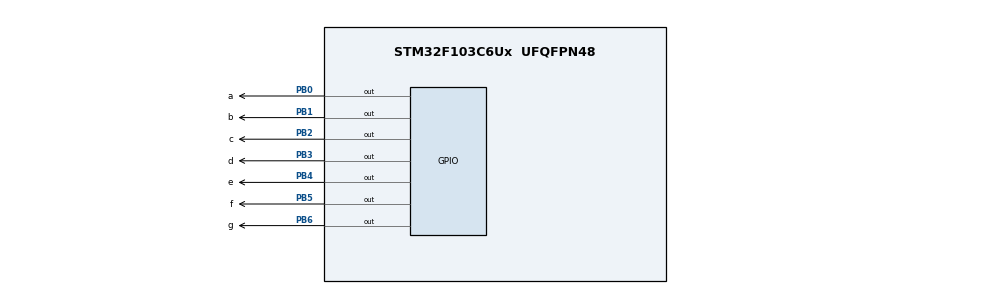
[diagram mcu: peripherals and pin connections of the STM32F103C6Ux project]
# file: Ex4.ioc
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Mcu.Family=STM32F1
Mcu.Name=STM32F103C6Ux
Mcu.Package=UFQFPN48
NVIC.PriorityGroup=NVIC_PRIORITYGROUP_4
PA13.Mode=Serial_Wire
PA13.Signal=SYS_JTMS-SWDIO
PA14.Mode=Serial_Wire
PA14.Signal=SYS_JTCK-SWCLK
PB0.GPIO_Label=a
PB0.PinState=GPIO_PIN_SET
PB0.Signal=GPIO_Output
PB1.GPIO_Label=b
PB1.PinState=GPIO_PIN_SET
PB1.Signal=GPIO_Output
PB2.GPIO_Label=c
PB2.PinState=GPIO_PIN_SET
PB2.Signal=GPIO_Output
PB3.GPIO_Label=d
PB3.PinState=GPIO_PIN_SET
PB3.Signal=GPIO_Output
PB4.GPIO_Label=e
PB4.PinState=GPIO_PIN_SET
PB4.Signal=GPIO_Output
PB5.GPIO_Label=f
PB5.PinState=GPIO_PIN_SET
PB5.Signal=GPIO_Output
PB6.GPIO_Label=g
PB6.PinState=GPIO_PIN_SET
PB6.Signal=GPIO_Output
ProjectManager.HeapSize=0x200
ProjectManager.StackSize=0x400
ProjectManager.TargetToolchain=STM32CubeIDE
RCC.APB1Freq_Value=8000000
RCC.APB2Freq_Value=8000000
board=custom

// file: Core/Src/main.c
/* USER CODE BEGIN Header */
/**
  ******************************************************************************
  * @file           : main.c
  * @brief          : Main program body
  ******************************************************************************
  * @attention
  *
  * Copyright (c) 2026 STMicroelectronics.
  * All rights reserved.
  *
  * This software is licensed under terms that can be found in the LICENSE file
  * in the root directory of this software component.
  * If no LICENSE file comes with this software, it is provided AS-IS.
  *
  ******************************************************************************
  */
/* USER CODE END Header */
#include "main.h"

/* USER CODE BEGIN PV */
int counter = 0;
/* USER CODE END PV */

void SystemClock_Config(void);
static void MX_GPIO_Init(void);

/* USER CODE BEGIN 0 */
void display7SEG(int num)
{

  uint8_t seg_code[10] = {
    0x40, // 0: 100 0000
    0x79, // 1: 111 1001
    0x24, // 2: 010 0100
    0x30, // 3: 011 0000
    0x19, // 4: 001 1001
    0x12, // 5: 001 0010
    0x02, // 6: 000 0010
    0x78, // 7: 111 1000
    0x00, // 8: 000 0000
    0x10
  };

  if (num >= 0 && num <= 9)
  {
    uint8_t code = seg_code[num];

    HAL_GPIO_WritePin(GPIOB, GPIO_PIN_0, (code & 0x01) ? GPIO_PIN_SET : GPIO_PIN_RESET); // a
    HAL_GPIO_WritePin(GPIOB, GPIO_PIN_1, (code & 0x02) ? GPIO_PIN_SET : GPIO_PIN_RESET); // b
    HAL_GPIO_WritePin(GPIOB, GPIO_PIN_2, (code & 0x04) ? GPIO_PIN_SET : GPIO_PIN_RESET); // c
    HAL_GPIO_WritePin(GPIOB, GPIO_PIN_3, (code & 0x08) ? GPIO_PIN_SET : GPIO_PIN_RESET); // d
    HAL_GPIO_WritePin(GPIOB, GPIO_PIN_4, (code & 0x10) ? GPIO_PIN_SET : GPIO_PIN_RESET); // e
    HAL_GPIO_WritePin(GPIOB, GPIO_PIN_5, (code & 0x20) ? GPIO_PIN_SET : GPIO_PIN_RESET); // f
    HAL_GPIO_WritePin(GPIOB, GPIO_PIN_6, (code & 0x40) ? GPIO_PIN_SET : GPIO_PIN_RESET); // g
  }
}
/* USER CODE END 0 */

int main(void)
{

  /* MCU Configuration--------------------------------------------------------*/

  /* Reset of all peripherals, Initializes the Flash interface and the Systick. */
  HAL_Init();

  /* Configure the system clock */
  SystemClock_Config();

  /* Initialize all configured peripherals */
  MX_GPIO_Init();

  /* Infinite loop */
  while (1)
  {
	if (counter >= 10) counter = 0;
	display7SEG(counter++);
	HAL_Delay(1000);
  }
}

void SystemClock_Config(void)
{
  RCC_OscInitTypeDef RCC_OscInitStruct = {0};
  RCC_ClkInitTypeDef RCC_ClkInitStruct = {0};

  /** Initializes the RCC Oscillators according to the specified parameters
  * in the RCC_OscInitTypeDef structure.
  */
  RCC_OscInitStruct.OscillatorType = RCC_OSCILLATORTYPE_HSI;
  RCC_OscInitStruct.HSIState = RCC_HSI_ON;
  RCC_OscInitStruct.HSICalibrationValue = RCC_HSICALIBRATION_DEFAULT;
  RCC_OscInitStruct.PLL.PLLState = RCC_PLL_NONE;
  if (HAL_RCC_OscConfig(&RCC_OscInitStruct) != HAL_OK)
  {
    Error_Handler();
  }

  /** Initializes the CPU, AHB and APB buses clocks
  */
  RCC_ClkInitStruct.ClockType = RCC_CLOCKTYPE_HCLK|RCC_CLOCKTYPE_SYSCLK
                              |RCC_CLOCKTYPE_PCLK1|RCC_CLOCKTYPE_PCLK2;
  RCC_ClkInitStruct.SYSCLKSource = RCC_SYSCLKSOURCE_HSI;
  RCC_ClkInitStruct.AHBCLKDivider = RCC_SYSCLK_DIV1;
  RCC_ClkInitStruct.APB1CLKDivider = RCC_HCLK_DIV1;
  RCC_ClkInitStruct.APB2CLKDivider = RCC_HCLK_DIV1;

  if (HAL_RCC_ClockConfig(&RCC_ClkInitStruct, FLASH_LATENCY_0) != HAL_OK)
  {
    Error_Handler();
  }
}

static void MX_GPIO_Init(void)
{
  GPIO_InitTypeDef GPIO_InitStruct = {0};

  /* GPIO Ports Clock Enable */
  __HAL_RCC_GPIOB_CLK_ENABLE();
  __HAL_RCC_GPIOA_CLK_ENABLE();

  /*Configure GPIO pin Output Level */
  HAL_GPIO_WritePin(GPIOB, a_Pin|b_Pin|c_Pin|d_Pin
                          |e_Pin|f_Pin|g_Pin, GPIO_PIN_SET);

  /*Configure GPIO pins : a_Pin b_Pin c_Pin d_Pin
                           e_Pin f_Pin g_Pin */
  GPIO_InitStruct.Pin = a_Pin|b_Pin|c_Pin|d_Pin
                          |e_Pin|f_Pin|g_Pin;
  GPIO_InitStruct.Mode = GPIO_MODE_OUTPUT_PP;
  GPIO_InitStruct.Pull = GPIO_NOPULL;
  GPIO_InitStruct.Speed = GPIO_SPEED_FREQ_LOW;
  HAL_GPIO_Init(GPIOB, &GPIO_InitStruct);

}

void Error_Handler(void)
{
  __disable_irq();
  while (1)
  {
  }
}
